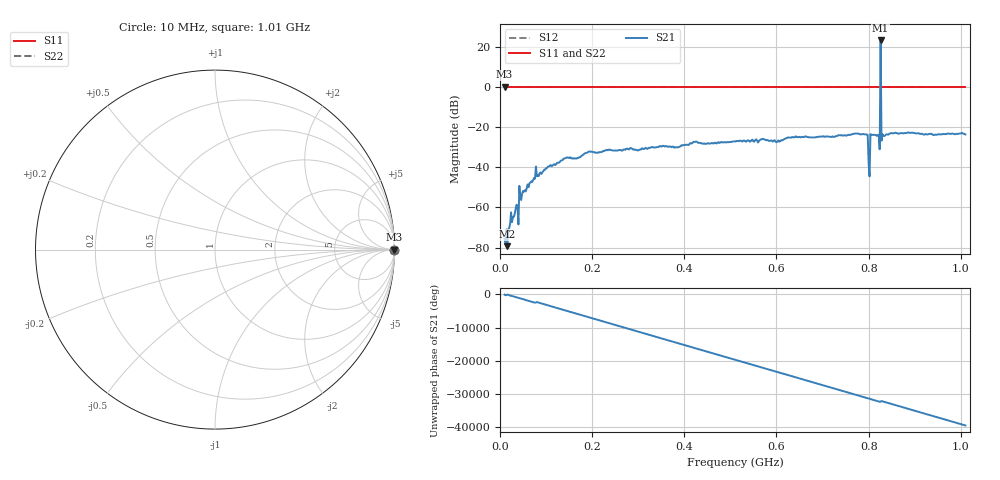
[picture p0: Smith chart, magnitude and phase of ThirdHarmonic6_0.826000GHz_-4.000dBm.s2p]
! 8/16/2025 3:25:55 AM
! C:\ANRITSUVNA\TEMP\TEMP.S2P
! CHANNEL.1
! TR.MEASUREMENT
! RAW.DATA
! RF.CORRECTION.OFF
! AVERAGING.OFF
! IF.BANDWIDTH: 5KHZ
! SWEEPTYPE:  FREQ.SWEEP(Linear)
! Reference Plane Port Info
! PORT:  PORT1  PORT2
! DISTANCE:  0  m  0  m
! TIME:  0  s  0  s
! PHASE.OFFSET:  0  deg.  0  deg.
! LOSS:  0  dB  0  dB
! REF.LOSS:  0  dB  0  dB
! REF.FREQ:  0  Hz  0  Hz
! Power Info
! POWER:  -20  dBm  -20  dBm
! EFF.POWER:  -20  dBm  -20  dBm
! SOURCE.ATTEN:  0  dB  0  dB
! TEST.ATTEN:  0  dB  0  dB
# GHZ S RI R 50.0
! FREQ.GHZ  S11RE  S11IM  S21RE  S21IM  S12RE  S12IM  S22RE  S22IM
!; PortSelection: Port_12
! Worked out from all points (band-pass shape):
!   501 points, 10 MHz to 1.01 GHz, reference 50 ohm
!   highest |S21| = 23.02 dB at 826 MHz (marker M1); lowest = -79.3 dB at 16 MHz (marker M2)
!   |S21| within 3 dB of the highest: 825.8892 MHz to 826.1203 MHz (231.1 kHz wide, 0.028 % of centre)
!   lowest |S11| = 0.0 dB at 10 MHz (marker M3)
!   |S11| at or under -10 dB: nowhere
!   |S22| runs from 0.0 to 0.0 dB; largest |S21 - S12| = 15
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0.01  1 0  1.18e-05 -0.000163  1 0  1 0
0.016  1 0  7.32e-05 -7.96e-05  1 0  1 0
0.024  1 0  0.000548 -0.000515  1 0  1 0
0.036  1 0  -0.00106 -0.000473  1 0  1 0
0.046  1 0  -0.00145 0.000476  1 0  1 0
0.076  1 0  0.00515 0.000332  1 0  1 0
0.142  1 0  -0.0153 -0.00675  1 0  1 0
0.178  1 0  -0.0187 -0.00515  1 0  1 0
0.344  1 0  0.0313 -0.00482  1 0  1 0
0.51  1 0  -0.042 0.0119  1 0  1 0
0.678  1 0  -0.0186 -0.0514  1 0  1 0
0.794  1 0  -0.0146 -0.0633  1 0  1 0
0.798  1 0  -0.00692 0.0634  1 0  1 0
0.804  1 0  -0.0554 -0.0364  1 0  1 0
0.808  1 0  0.0371 0.0518  1 0  1 0
0.82  1 0  0.0252 -0.0576  1 0  1 0
0.822  1 0  -0.0547 -0.033  1 0  1 0
0.826  1 0  -13.77 3.271  1 0  1 0
0.83  1 0  -0.023 -0.0614  1 0  1 0
0.832  1 0  -0.0597 0.0107  1 0  1 0
0.844  1 0  0.039 0.0535  1 0  1 0
1.01  1 0  -0.0588 -0.0282  1 0  1 0
